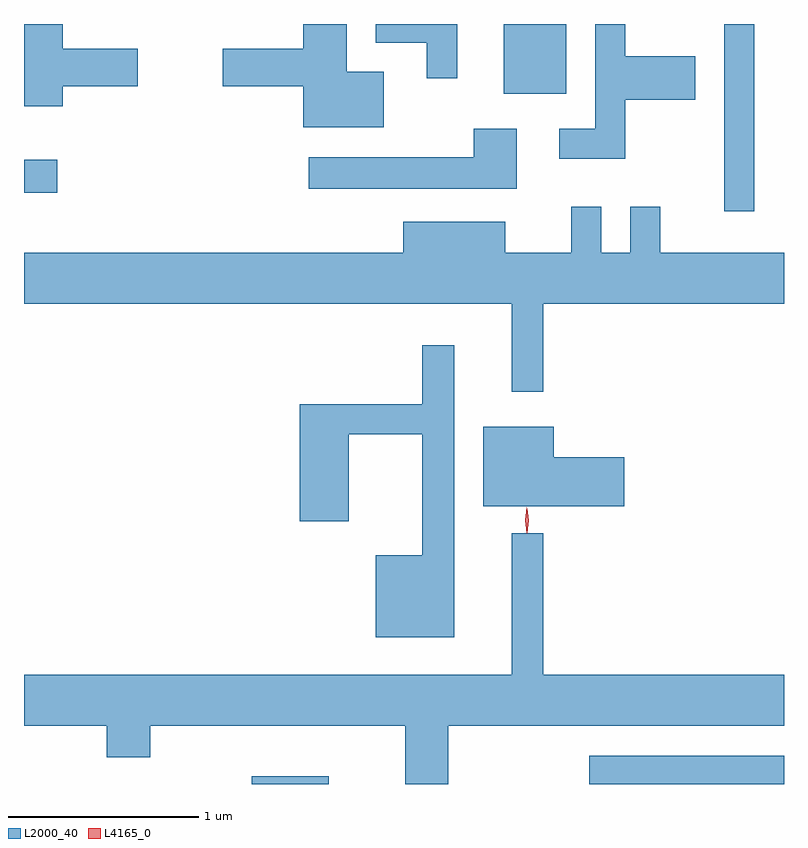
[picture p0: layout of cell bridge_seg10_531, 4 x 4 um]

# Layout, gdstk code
import gdstk
lib = gdstk.Library(unit=1e-6, precision=1e-09)
def R(c, l, rs):  # rectangles x0, y0, x1, y1
    for r in rs: c.add(gdstk.rectangle(r[:2], r[2:], *l))
def P(c, l, *ps):  # polygons
    for p in ps: c.add(gdstk.Polygon(p, *l))
L2000_40 = (2000, 40)
L4165_0 = (4165, 0)

bridge_seg10_531 = lib.new_cell('bridge_seg10_531')
R(bridge_seg10_531, L2000_40, [(818.483,2162.449,818.889,2162.489), (820.261,2162.449,821.285,2162.599), (820.971,2165.463,821.129,2166.449), (817.285,2165.561,817.459,2165.734), (819.811,2166.081,820.139,2166.449)])
P(bridge_seg10_531, L2000_40, [(819.564,2166.449),(819.136,2166.449),(819.136,2166.351),(819.406,2166.351),(819.406,2166.163),(819.564,2166.163)],
  [(817.489,2166.121),(817.884,2166.121),(817.884,2166.319),(817.489,2166.319),(817.489,2166.449),(817.285,2166.449),(817.285,2166.016),(817.489,2166.016)],
  [(819.179,2166.199),(818.984,2166.199),(818.984,2166.449),(818.756,2166.449),(818.756,2166.319),(818.331,2166.319),(818.331,2166.121),(818.756,2166.121),(818.756,2165.906),(819.179,2165.906)],
  [(820.449,2166.051),(820.819,2166.051),(820.819,2166.279),(820.449,2166.279),(820.449,2166.449),(820.291,2166.449),(820.291,2165.899),(820.103,2165.899),(820.103,2165.741),(820.449,2165.741)],
  [(819.879,2165.899),(819.651,2165.899),(819.651,2165.749),(818.783,2165.749),(818.783,2165.581),(819.879,2165.581)],
  [(820.019,2164.976),(821.285,2164.976),(821.285,2165.244),(820.634,2165.244),(820.634,2165.488),(820.476,2165.488),(820.476,2165.244),(820.324,2165.244),(820.324,2165.488),(820.166,2165.488),(820.166,2165.244),(819.819,2165.244),(819.819,2165.409),(819.281,2165.409),(819.281,2165.244),(817.285,2165.244),(817.285,2164.976),(819.851,2164.976),(819.851,2164.513),(820.019,2164.513)],
  [(819.549,2164.758),(819.381,2164.758),(819.381,2164.449),(818.736,2164.449),(818.736,2163.831),(818.994,2163.831),(818.994,2164.291),(819.381,2164.291),(819.381,2163.654),(819.136,2163.654),(819.136,2163.221),(819.549,2163.221)],
  [(820.444,2164.169),(820.074,2164.169),(820.074,2164.329),(819.701,2164.329),(819.701,2163.911),(820.444,2163.911)],
  [(819.519,2162.756),(821.285,2162.756),(821.285,2163.024),(820.019,2163.024),(820.019,2163.768),(819.851,2163.768),(819.851,2163.024),(817.285,2163.024),(817.285,2162.756),(817.721,2162.756),(817.721,2162.591),(817.949,2162.591),(817.949,2162.756),(819.291,2162.756),(819.291,2162.449),(819.519,2162.449)])
P(bridge_seg10_531, L4165_0, [(819.932,2163.77),(819.922,2163.838),(819.931,2163.905),(819.932,2163.906),(819.932,2163.905),(819.942,2163.838),(819.933,2163.77),(819.933,2163.77)],
  [(819.933,2163.773),(819.932,2163.774),(819.922,2163.836),(819.932,2163.899),(819.932,2163.9),(819.933,2163.899),(819.942,2163.836),(819.933,2163.774)])

lib.write_gds('bridge_seg10_531.gds')
